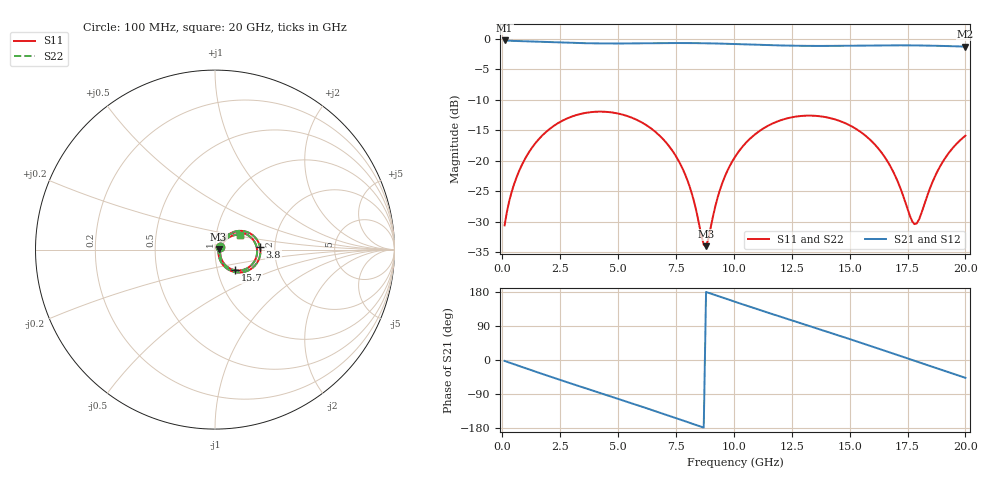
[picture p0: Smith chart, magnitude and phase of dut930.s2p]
! Touchstone file exported from HFSS 2026.1.0
!  File:  C:/ffzhzh/LocalFiles/Ansys_Project_Files/temp_train_TSV_RDL_930_1783280444_30076.aedt
!  Generated:  03:50:40 AM Jul  6, 2026
!  Design:  TSV_RDL
!  Project:  temp_train_TSV_RDL_930_1783280444_30076
! Variables:
!  h_bsmrdl = 4.89um
!  h_ox = 20um
!  h_rdl = 5um
!  h_sub = 73.35um
!  h_tmrdl = 3.68um
!  h_tsv = 73.35um
!  h_via = 3um
!  l_bsmrdl = 968.48um
!  l_sub = 7126.27um
!  l_tmrdl = 920.91um
!  m_sub = 200um
!  pitch = 33um
!  r_tsv = 8.22um
!  s_tmrdl = 10um
!  w_bsmrdl = 21.44um
!  w_sub = 500um
!  w_tmrdl = 24.29um
!  x_tsv_center1 = 933.055um
!  x_tsv_center2 = 1922.975um
!  x_tsv_center3 = 2868.175um
!  x_tsv_center4 = 3858.095um
!  x_tsv_center5 = 4803.295um
!  x_tsv_center6 = 5793.215um
# GHz S MA R 50.000000
! Terminal data exported
! Port[1] = TM_RDL1_1_T1
! Port[2] = TM_RDL5_1_T1
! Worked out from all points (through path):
!   200 points, 100 MHz to 20 GHz, reference 50 ohm
!   highest |S21| = -0.23 dB at 100 MHz (marker M1); lowest = -1.2 dB at 20 GHz (marker M2)
!   group delay of S21, straight-line fit = 56.3 ps
!   lowest |S11| = -34.0 dB at 8.8 GHz (marker M3), VSWR 1.04, Z = 52 + j0.0848 ohm
!   |S11| at or under -10 dB: start of sweep to end of sweep
!   |S22| runs from -34.0 to -11.9 dB; largest |S21 - S12| = 1.6e-14
!   S11 on the Smith chart (normalised r, x): 100 MHz: 1.05, +0.03; 3.8 GHz: 1.67, +0.06; 15.7 GHz: 1.21, -0.29; 20 GHz: 1.30, +0.22
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0.1  0.02956 24.9  0.9736 -2.4  0.9736 -2.4  0.02956 24.9
! Gamma 0 0 0 0
! Port Impedance 50 0 50 0
0.6  0.07197 48.5  0.9636 -13.1  0.9636 -13.1  0.07197 48.5
1.3  0.1296 45.6  0.9544 -27.9  0.9544 -27.9  0.1296 45.6
2.4  0.2037 28.8  0.9383 -50.6  0.9383 -50.6  0.2037 28.8
3.5  0.2456 9.2  0.9251 -72.7  0.9251 -72.7  0.2457 9.2
3.8  0.2508 3.7  0.9227 -78.7  0.9227 -78.7  0.2509 3.7
5.3  0.2365 -23.7  0.9198 -108.5  0.9198 -108.5  0.2366 -23.7
6.8  0.1607 -50.2  0.9255 -138.9  0.9255 -138.9  0.1607 -50.2
7.9  0.07708 -64.1  0.927 -161.7  0.927 -161.7  0.07712 -64.1
8.7  0.02046 -20.5  0.9238 -178.4  0.9238 -178.4  0.02052 -20.5
8.8  0.01994 2.3  0.9231 179.5  0.9231 179.5  0.01999 2.2
9.4  0.05778 51.6  0.9177 167.1  0.9177 167.1  0.0578 51.5
10.1  0.1114 47.7  0.9094 152.6  0.9094 152.6  0.1114 47.6
11.8  0.2077 20.5  0.888 118.4  0.888 118.4  0.2077 20.4
13.4  0.2349 -7.3  0.8782 86.9  0.8782 86.9  0.235 -7.5
14.5  0.215 -26.3  0.8794 65.2  0.8794 65.2  0.2151 -26.5
15.7  0.1601 -45.7  0.8847 41.1  0.8847 41.1  0.1602 -46.0
16.7  0.09448 -57.0  0.8881 20.7  0.8881 20.7  0.09436 -57.6
17.7  0.03199 -24.4  0.8871 0.0  0.8871 0.0  0.03119 -25.2
17.9  0.03067 1.7  0.8862 -4.1  0.8862 -4.1  0.02976 1.7
18.9  0.08958 42.3  0.8788 -24.7  0.8788 -24.7  0.0892 42.8
20  0.161 30.5  0.8673 -47.1  0.8673 -47.1  0.1608 30.8
